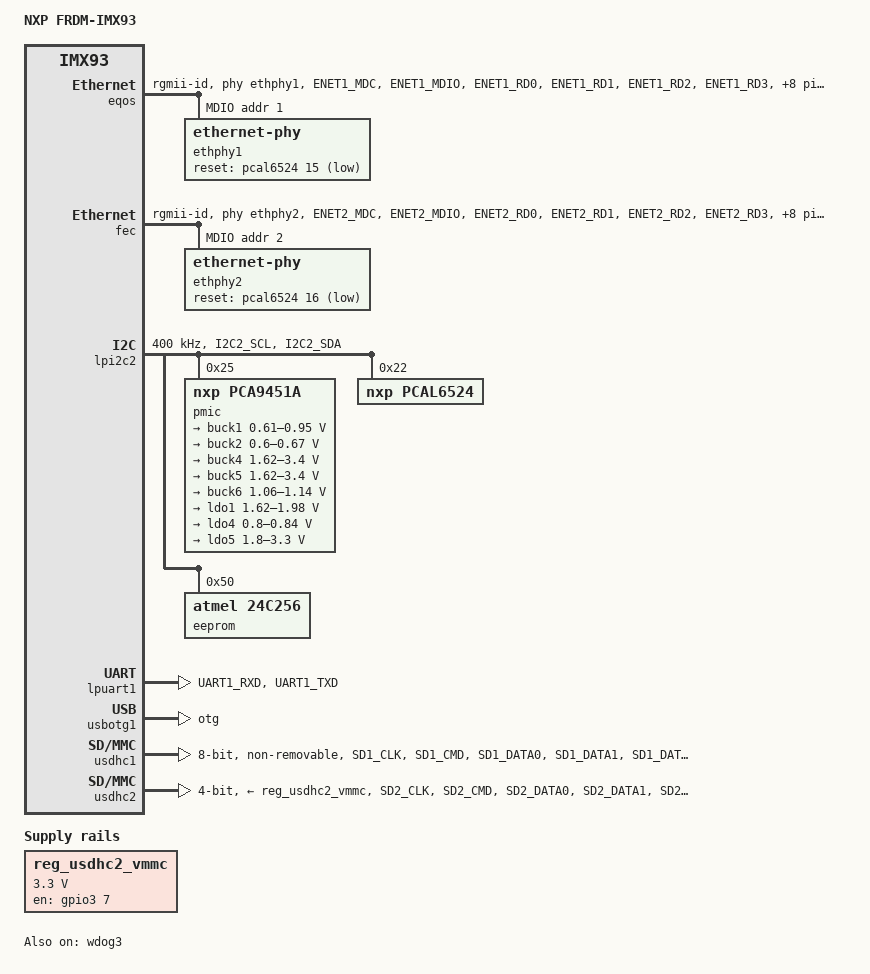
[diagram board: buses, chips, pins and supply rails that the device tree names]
// SPDX-License-Identifier: (GPL-2.0+ OR MIT)
/*
 * Copyright 2025 NXP
 *
 * U-Boot device tree for FRDM-IMX93 (slim version).
 *
 * PCAL6524 GPIO map verified against schematic SPF-94611 Rev B2 page 17:
 *   GPIO  0  TCPC_nINT          GPIO 12  SD3_nRST
 *   GPIO  1  RTC_nINTA          GPIO 13  EXT1_PWREN
 *   GPIO  2  PCIE_nWAKE (*)     GPIO 14  EXT2_PWREN (U742 → VBUS_USB2_5V EN)
 *   GPIO  3  UART_nWAKE         GPIO 15  ENET1_nRST   <- EQOS PHY reset
 *   GPIO  4  ENET1_nINT         GPIO 16  ENET2_nRST   <- FEC  PHY reset
 *   GPIO  5  EXP_BTN1 (K2)      GPIO 17  CTP_RST
 *   GPIO  6  EXP_BTN2 (K3)      GPIO 18  M2_nRST
 *   GPIO  7  DSI_CTP_nINT       GPIO 19  M2_nDIS2
 *   GPIO  8  EXP_PWREN (U733)   GPIO 20  M2_nDIS1 (WLAN_EN)
 *   GPIO  9  ENET2_nINT         GPIO 21  LVDS_nRST
 *   GPIO 10  M2_nALERT          GPIO 22  CSI_nRST
 *   GPIO 11  PMIC_nINT          GPIO 23  CAN_STBY
 *
 * (*) GPIO 2 is a multi-purpose net — used both as M.2 PCIE_nWAKE input
 *     and as U732 SGM2575 EN output (controls VEXP_3V3 rail).
 *
 * Boot-critical nodes only:
 *   LPUART1 console, USDHC1 (eMMC), USDHC2 (MicroSD),
 *   LPI2C2 with PCA9451A PMIC + PCAL6524 expander + AT24 EEPROM,
 *   EQOS / FEC (netboot), USB OTG1 (fastboot/DFU), watchdog.
 */

/dts-v1/;

#include "imx93.dtsi"

/ {
	model = "NXP FRDM-IMX93";
	compatible = "fsl,frdm-imx93", "fsl,imx93";

	chosen {
		stdout-path = &lpuart1;
	};

	reg_usdhc2_vmmc: regulator-usdhc2 {
		compatible = "regulator-fixed";
		pinctrl-names = "default";
		pinctrl-0 = <&pinctrl_reg_usdhc2_vmmc>;
		regulator-name = "VSD_3V3";
		regulator-min-microvolt = <3300000>;
		regulator-max-microvolt = <3300000>;
		gpio = <&gpio3 7 GPIO_ACTIVE_HIGH>;
		off-on-delay-us = <12000>;
		enable-active-high;
	};
};

&eqos {
	pinctrl-names = "default";
	pinctrl-0 = <&pinctrl_eqos>;
	phy-mode = "rgmii-id";
	phy-handle = <&ethphy1>;
	status = "okay";

	mdio {
		compatible = "snps,dwmac-mdio";
		#address-cells = <1>;
		#size-cells = <0>;
		clock-frequency = <5000000>;

		ethphy1: ethernet-phy@1 {
			reg = <1>;
			/* PCAL6524 GPIO 15 = ENET1_nRST (schematic p.17) */
			reset-gpios = <&pcal6524 15 GPIO_ACTIVE_LOW>;
			reset-assert-us = <10000>;
			reset-deassert-us = <80000>;
		};
	};
};

&fec {
	pinctrl-names = "default";
	pinctrl-0 = <&pinctrl_fec>;
	phy-mode = "rgmii-id";
	phy-handle = <&ethphy2>;
	status = "okay";

	mdio {
		#address-cells = <1>;
		#size-cells = <0>;
		clock-frequency = <5000000>;

		ethphy2: ethernet-phy@2 {
			reg = <2>;
			/* PCAL6524 GPIO 16 = ENET2_nRST (schematic p.17) */
			reset-gpios = <&pcal6524 16 GPIO_ACTIVE_LOW>;
			reset-assert-us = <10000>;
			reset-deassert-us = <80000>;
		};
	};
};

&lpi2c2 {
	clock-frequency = <400000>;
	pinctrl-names = "default";
	pinctrl-0 = <&pinctrl_lpi2c2>;
	status = "okay";

	pmic@25 {
		compatible = "nxp,pca9451a";
		reg = <0x25>;

		regulators {
			buck1: BUCK1 {
				regulator-name = "BUCK1";
				regulator-min-microvolt = <610000>;
				regulator-max-microvolt = <950000>;
				regulator-boot-on;
				regulator-always-on;
				regulator-ramp-delay = <3125>;
			};

			buck2: BUCK2 {
				regulator-name = "BUCK2";
				regulator-min-microvolt = <600000>;
				regulator-max-microvolt = <670000>;
				regulator-boot-on;
				regulator-always-on;
				regulator-ramp-delay = <3125>;
			};

			buck4: BUCK4 {
				regulator-name = "BUCK4";
				regulator-min-microvolt = <1620000>;
				regulator-max-microvolt = <3400000>;
				regulator-boot-on;
				regulator-always-on;
			};

			buck5: BUCK5 {
				regulator-name = "BUCK5";
				regulator-min-microvolt = <1620000>;
				regulator-max-microvolt = <3400000>;
				regulator-boot-on;
				regulator-always-on;
			};

			buck6: BUCK6 {
				regulator-name = "BUCK6";
				regulator-min-microvolt = <1060000>;
				regulator-max-microvolt = <1140000>;
				regulator-boot-on;
				regulator-always-on;
			};

			ldo1: LDO1 {
				regulator-name = "LDO1";
				regulator-min-microvolt = <1620000>;
				regulator-max-microvolt = <1980000>;
				regulator-boot-on;
				regulator-always-on;
			};

			ldo4: LDO4 {
				regulator-name = "LDO4";
				regulator-min-microvolt = <800000>;
				regulator-max-microvolt = <840000>;
				regulator-boot-on;
				regulator-always-on;
			};

			ldo5: LDO5 {
				regulator-name = "LDO5";
				regulator-min-microvolt = <1800000>;
				regulator-max-microvolt = <3300000>;
				regulator-boot-on;
				regulator-always-on;
			};
		};
	};

	pcal6524: gpio@22 {
		compatible = "nxp,pcal6524";
		pinctrl-names = "default";
		pinctrl-0 = <&pinctrl_pcal6524>;
		reg = <0x22>;
		gpio-controller;
		#gpio-cells = <2>;
	};

	eeprom: eeprom@50 {
		compatible = "atmel,24c256";
		reg = <0x50>;
		pagesize = <64>;
	};
};

&lpuart1 { /* console */
	pinctrl-names = "default";
	pinctrl-0 = <&pinctrl_uart1>;
	status = "okay";
};

&usbotg1 {
	dr_mode = "otg";
	status = "okay";
};

&usdhc1 {
	pinctrl-names = "default", "state_100mhz", "state_200mhz";
	pinctrl-0 = <&pinctrl_usdhc1>;
	pinctrl-1 = <&pinctrl_usdhc1_100mhz>;
	pinctrl-2 = <&pinctrl_usdhc1_200mhz>;
	bus-width = <8>;
	fsl,tuning-step = <1>;
	non-removable;
	status = "okay";
};

&usdhc2 {
	pinctrl-names = "default", "state_100mhz", "state_200mhz";
	pinctrl-0 = <&pinctrl_usdhc2>, <&pinctrl_usdhc2_gpio>;
	pinctrl-1 = <&pinctrl_usdhc2_100mhz>, <&pinctrl_usdhc2_gpio>;
	pinctrl-2 = <&pinctrl_usdhc2_200mhz>, <&pinctrl_usdhc2_gpio>;
	cd-gpios = <&gpio3 00 GPIO_ACTIVE_LOW>;
	vmmc-supply = <&reg_usdhc2_vmmc>;
	bus-width = <4>;
	fsl,tuning-step = <1>;
	status = "okay";
	no-mmc;
};

&wdog3 {
	status = "okay";
};

&iomuxc {
	pinctrl_eqos: eqosgrp {
		fsl,pins = <
			MX93_PAD_ENET1_MDC__ENET_QOS_MDC			0x57e
			MX93_PAD_ENET1_MDIO__ENET_QOS_MDIO			0x57e
			MX93_PAD_ENET1_RD0__ENET_QOS_RGMII_RD0			0x57e
			MX93_PAD_ENET1_RD1__ENET_QOS_RGMII_RD1			0x57e
			MX93_PAD_ENET1_RD2__ENET_QOS_RGMII_RD2			0x57e
			MX93_PAD_ENET1_RD3__ENET_QOS_RGMII_RD3			0x57e
			MX93_PAD_ENET1_RXC__CCM_ENET_QOS_CLOCK_GENERATE_RX_CLK	0x5fe
			MX93_PAD_ENET1_RX_CTL__ENET_QOS_RGMII_RX_CTL		0x57e
			MX93_PAD_ENET1_TD0__ENET_QOS_RGMII_TD0			0x57e
			MX93_PAD_ENET1_TD1__ENET_QOS_RGMII_TD1			0x57e
			MX93_PAD_ENET1_TD2__ENET_QOS_RGMII_TD2			0x57e
			MX93_PAD_ENET1_TD3__ENET_QOS_RGMII_TD3			0x57e
			MX93_PAD_ENET1_TXC__CCM_ENET_QOS_CLOCK_GENERATE_TX_CLK	0x5fe
			MX93_PAD_ENET1_TX_CTL__ENET_QOS_RGMII_TX_CTL		0x57e
		>;
	};

	pinctrl_fec: fecgrp {
		fsl,pins = <
			MX93_PAD_ENET2_MDC__ENET1_MDC			0x57e
			MX93_PAD_ENET2_MDIO__ENET1_MDIO			0x57e
			MX93_PAD_ENET2_RD0__ENET1_RGMII_RD0		0x57e
			MX93_PAD_ENET2_RD1__ENET1_RGMII_RD1		0x57e
			MX93_PAD_ENET2_RD2__ENET1_RGMII_RD2		0x57e
			MX93_PAD_ENET2_RD3__ENET1_RGMII_RD3		0x57e
			MX93_PAD_ENET2_RXC__ENET1_RGMII_RXC		0x5fe
			MX93_PAD_ENET2_RX_CTL__ENET1_RGMII_RX_CTL	0x57e
			MX93_PAD_ENET2_TD0__ENET1_RGMII_TD0		0x57e
			MX93_PAD_ENET2_TD1__ENET1_RGMII_TD1		0x57e
			MX93_PAD_ENET2_TD2__ENET1_RGMII_TD2		0x57e
			MX93_PAD_ENET2_TD3__ENET1_RGMII_TD3		0x57e
			MX93_PAD_ENET2_TXC__ENET1_RGMII_TXC		0x5fe
			MX93_PAD_ENET2_TX_CTL__ENET1_RGMII_TX_CTL	0x57e
		>;
	};

	pinctrl_lpi2c2: lpi2c2grp {
		fsl,pins = <
			MX93_PAD_I2C2_SCL__LPI2C2_SCL			0x40000b9e
			MX93_PAD_I2C2_SDA__LPI2C2_SDA			0x40000b9e
		>;
	};

	pinctrl_pcal6524: pcal6524grp {
		fsl,pins = <
			MX93_PAD_CCM_CLKO2__GPIO3_IO27			0x31e
		>;
	};

	pinctrl_uart1: uart1grp {
		fsl,pins = <
			MX93_PAD_UART1_RXD__LPUART1_RX			0x31e
			MX93_PAD_UART1_TXD__LPUART1_TX			0x31e
		>;
	};

	/* need to config the SION for data and cmd pad, refer to ERR052021 */
	pinctrl_usdhc1: usdhc1grp {
		fsl,pins = <
			MX93_PAD_SD1_CLK__USDHC1_CLK		0x1582
			MX93_PAD_SD1_CMD__USDHC1_CMD		0x40001382
			MX93_PAD_SD1_DATA0__USDHC1_DATA0	0x40001382
			MX93_PAD_SD1_DATA1__USDHC1_DATA1	0x40001382
			MX93_PAD_SD1_DATA2__USDHC1_DATA2	0x40001382
			MX93_PAD_SD1_DATA3__USDHC1_DATA3	0x40001382
			MX93_PAD_SD1_DATA4__USDHC1_DATA4	0x40001382
			MX93_PAD_SD1_DATA5__USDHC1_DATA5	0x40001382
			MX93_PAD_SD1_DATA6__USDHC1_DATA6	0x40001382
			MX93_PAD_SD1_DATA7__USDHC1_DATA7	0x40001382
			MX93_PAD_SD1_STROBE__USDHC1_STROBE	0x1582
		>;
	};

	/* need to config the SION for data and cmd pad, refer to ERR052021 */
	pinctrl_usdhc1_100mhz: usdhc1-100mhzgrp {
		fsl,pins = <
			MX93_PAD_SD1_CLK__USDHC1_CLK		0x158e
			MX93_PAD_SD1_CMD__USDHC1_CMD		0x4000138e
			MX93_PAD_SD1_DATA0__USDHC1_DATA0	0x4000138e
			MX93_PAD_SD1_DATA1__USDHC1_DATA1	0x4000138e
			MX93_PAD_SD1_DATA2__USDHC1_DATA2	0x4000138e
			MX93_PAD_SD1_DATA3__USDHC1_DATA3	0x4000138e
			MX93_PAD_SD1_DATA4__USDHC1_DATA4	0x4000138e
			MX93_PAD_SD1_DATA5__USDHC1_DATA5	0x4000138e
			MX93_PAD_SD1_DATA6__USDHC1_DATA6	0x4000138e
			MX93_PAD_SD1_DATA7__USDHC1_DATA7	0x4000138e
			MX93_PAD_SD1_STROBE__USDHC1_STROBE	0x158e
		>;
	};

	/* need to config the SION for data and cmd pad, refer to ERR052021 */
	pinctrl_usdhc1_200mhz: usdhc1-200mhzgrp {
		fsl,pins = <
			MX93_PAD_SD1_CLK__USDHC1_CLK		0x15fe
			MX93_PAD_SD1_CMD__USDHC1_CMD		0x400013fe
			MX93_PAD_SD1_DATA0__USDHC1_DATA0	0x400013fe
			MX93_PAD_SD1_DATA1__USDHC1_DATA1	0x400013fe
			MX93_PAD_SD1_DATA2__USDHC1_DATA2	0x400013fe
			MX93_PAD_SD1_DATA3__USDHC1_DATA3	0x400013fe
			MX93_PAD_SD1_DATA4__USDHC1_DATA4	0x400013fe
			MX93_PAD_SD1_DATA5__USDHC1_DATA5	0x400013fe
			MX93_PAD_SD1_DATA6__USDHC1_DATA6	0x400013fe
			MX93_PAD_SD1_DATA7__USDHC1_DATA7	0x400013fe
			MX93_PAD_SD1_STROBE__USDHC1_STROBE	0x15fe
		>;
	};

	pinctrl_reg_usdhc2_vmmc: regusdhc2vmmcgrp {
		fsl,pins = <
			MX93_PAD_SD2_RESET_B__GPIO3_IO07	0x31e
		>;
	};

	pinctrl_usdhc2_gpio: usdhc2gpiogrp {
		fsl,pins = <
			MX93_PAD_SD2_CD_B__GPIO3_IO00		0x31e
		>;
	};

	/* need to config the SION for data and cmd pad, refer to ERR052021 */
	pinctrl_usdhc2: usdhc2grp {
		fsl,pins = <
			MX93_PAD_SD2_CLK__USDHC2_CLK		0x1582
			MX93_PAD_SD2_CMD__USDHC2_CMD		0x40001382
			MX93_PAD_SD2_DATA0__USDHC2_DATA0	0x40001382
			MX93_PAD_SD2_DATA1__USDHC2_DATA1	0x40001382
			MX93_PAD_SD2_DATA2__USDHC2_DATA2	0x40001382
			MX93_PAD_SD2_DATA3__USDHC2_DATA3	0x40001382
			MX93_PAD_SD2_VSELECT__USDHC2_VSELECT	0x51e
		>;
	};

	/* need to config the SION for data and cmd pad, refer to ERR052021 */
	pinctrl_usdhc2_100mhz: usdhc2-100mhzgrp {
		fsl,pins = <
			MX93_PAD_SD2_CLK__USDHC2_CLK		0x158e
			MX93_PAD_SD2_CMD__USDHC2_CMD		0x4000138e
			MX93_PAD_SD2_DATA0__USDHC2_DATA0	0x4000138e
			MX93_PAD_SD2_DATA1__USDHC2_DATA1	0x4000138e
			MX93_PAD_SD2_DATA2__USDHC2_DATA2	0x4000138e
			MX93_PAD_SD2_DATA3__USDHC2_DATA3	0x4000138e
			MX93_PAD_SD2_VSELECT__USDHC2_VSELECT	0x51e
		>;
	};

	/* need to config the SION for data and cmd pad, refer to ERR052021 */
	pinctrl_usdhc2_200mhz: usdhc2-200mhzgrp {
		fsl,pins = <
			MX93_PAD_SD2_CLK__USDHC2_CLK		0x15fe
			MX93_PAD_SD2_CMD__USDHC2_CMD		0x400013fe
			MX93_PAD_SD2_DATA0__USDHC2_DATA0	0x400013fe
			MX93_PAD_SD2_DATA1__USDHC2_DATA1	0x400013fe
			MX93_PAD_SD2_DATA2__USDHC2_DATA2	0x400013fe
			MX93_PAD_SD2_DATA3__USDHC2_DATA3	0x400013fe
			MX93_PAD_SD2_VSELECT__USDHC2_VSELECT	0x51e
		>;
	};
};
